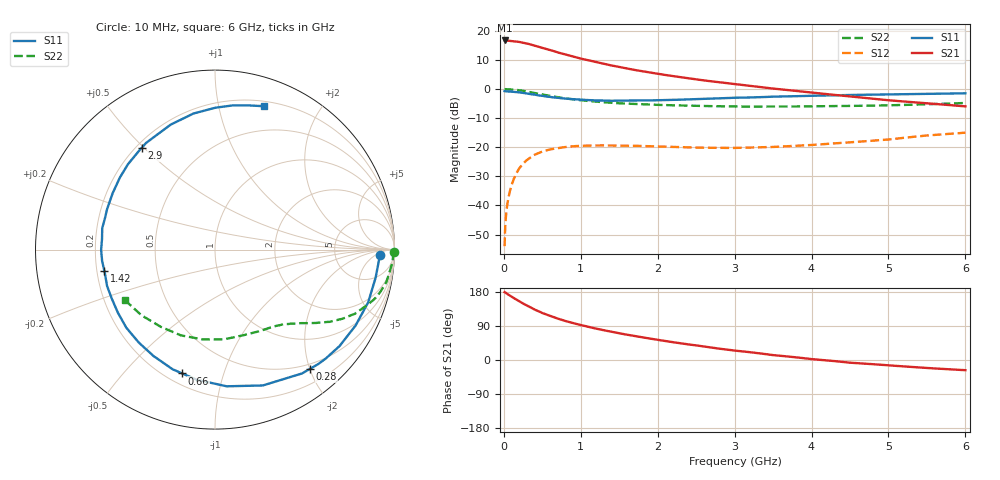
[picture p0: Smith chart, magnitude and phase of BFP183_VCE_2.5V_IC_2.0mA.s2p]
! Infineon Technologies  Discrete & RF Semiconductors
! BFP183
! VCE = 2.5 V,  IC =  2.0 mA
! Common Emitter S-Parameters:  Jan 2016
# GHz  S  MA  R  50
!  f  S11  S21  S12  S22
! GHz  MAG  ANG  MAG  ANG  MAG  ANG  MAG  ANG
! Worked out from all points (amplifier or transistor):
!   210 points, 10 MHz to 6 GHz, reference 50 ohm
!   highest |S21| = 16.7 dB at 10 MHz (marker M1)
!   |S21| within 3 dB of that: start of sweep to 564.2 MHz
!   unconditionally stable (mu >= 1): 2.082 GHz to 5.922 GHz
!   at 185 MHz: K = 0.10, MSG = 22.1 dB, |S12| = -27.9 dB
!   at 1.52 GHz: K = 0.73, MSG = 13.5 dB, |S12| = -19.5 dB
!   at 6 GHz: K = 0.98, MSG = 4.5 dB, |S12| = -15.0 dB
!   S11 on the Smith chart (normalised r, x): 10 MHz: 21, -8; 280 MHz: 0.42, -2.01; 660 MHz: 0.26, -0.74; 1.42 GHz: 0.23, -0.09; 2.9 GHz: 0.22, +0.49; 6 GHz: 0.25, +1.37
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0.01  0.9206 -1.8  6.819 179.0  0.002 88.4  0.999 -0.7
0.02  0.915 -3.9  6.79 178.0  0.0049 88.8  0.9934 -1.4
0.03  0.9118 -5.9  6.779 176.5  0.0071 88.3  0.9927 -2.1
0.08  0.9023 -15.3  6.702 169.8  0.0179 81.3  0.9851 -5.8
0.2  0.8776 -37.8  6.432 154.8  0.0434 68.3  0.9524 -14.1
0.28  0.8494 -51.4  6.139 145.9  0.057 61.4  0.915 -18.7
0.4  0.8025 -70.6  5.569 133.1  0.0742 51.5  0.8569 -24.7
0.5  0.7644 -85.1  5.086 124.0  0.0845 44.4  0.8063 -28.6
0.6  0.7319 -98.1  4.699 116.2  0.0918 38.8  0.7617 -31.8
0.66  0.7138 -104.8  4.424 112.2  0.0947 35.7  0.7377 -33.2
0.8  0.6848 -120.0  3.922 102.9  0.1009 29.8  0.6907 -36.3
1.02  0.6547 -140.2  3.288 91.1  0.1059 22.7  0.6373 -40.0
1.2  0.6366 -154.6  2.893 82.8  0.1072 18.0  0.6065 -42.8
1.42  0.6278 -169.2  2.507 73.6  0.107 14.4  0.5785 -45.8
1.78  0.6376 170.3  2.042 60.4  0.1053 10.9  0.5469 -50.8
2.02  0.6424 158.7  1.81 52.6  0.1026 9.9  0.5332 -54.4
2.4  0.6648 142.9  1.533 41.2  0.0994 9.7  0.518 -61.3
2.9  0.6986 125.8  1.26 27.5  0.0974 12.4  0.5031 -71.0
3.1  0.7108 120.1  1.172 22.8  0.098 14.1  0.5 -75.4
4.1  0.7706 97.1  0.843 0.7  0.1116 22.0  0.5046 -100.5
5.1  0.8124 81.6  0.626 -15.5  0.1405 25.4  0.5281 -127.8
6  0.8435 71.3  0.503 -26.9  0.1778 20.3  0.5761 -150.9
